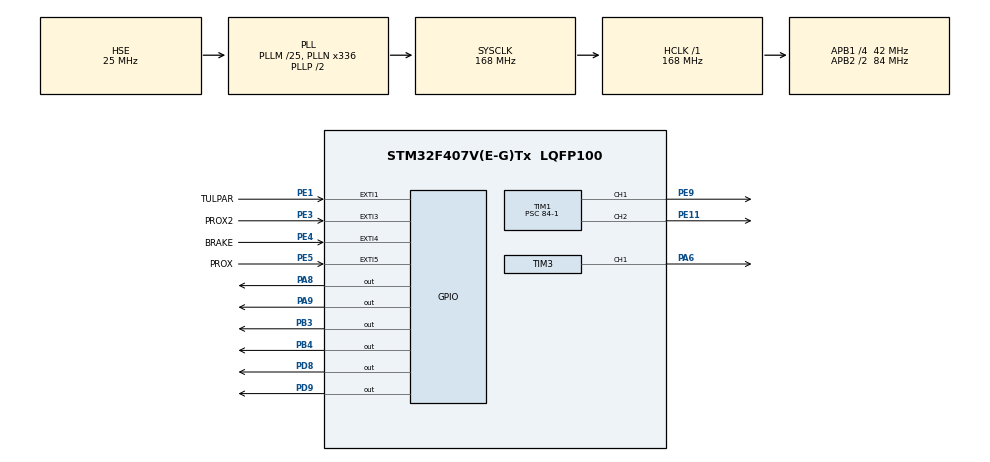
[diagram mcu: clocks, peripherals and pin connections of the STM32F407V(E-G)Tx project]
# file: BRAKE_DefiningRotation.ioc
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Mcu.Family=STM32F4
Mcu.Name=STM32F407V(E-G)Tx
Mcu.Package=LQFP100
NVIC.EXTI1_IRQn=true\:0\:0\:false\:false\:true\:true\:true\:true
NVIC.EXTI3_IRQn=true\:0\:0\:false\:false\:true\:true\:true\:true
NVIC.EXTI4_IRQn=true\:0\:0\:false\:false\:true\:true\:true\:true
NVIC.EXTI9_5_IRQn=true\:0\:0\:false\:false\:true\:true\:true\:true
NVIC.PriorityGroup=NVIC_PRIORITYGROUP_4
NVIC.RCC_IRQn=true\:0\:0\:false\:false\:true\:true\:false\:true
PA13.Mode=Serial_Wire
PA13.Signal=SYS_JTMS-SWDIO
PA14.Mode=Serial_Wire
PA14.Signal=SYS_JTCK-SWCLK
PA6.Signal=S_TIM3_CH1
PA8.Signal=GPIO_Output
PA9.Signal=GPIO_Output
PB3.Signal=GPIO_Output
PB4.Signal=GPIO_Output
PC14-OSC32_IN.Mode=LSE-External-Oscillator
PC14-OSC32_IN.Signal=RCC_OSC32_IN
PC15-OSC32_OUT.Mode=LSE-External-Oscillator
PC15-OSC32_OUT.Signal=RCC_OSC32_OUT
PD8.Signal=GPIO_Output
PD9.Signal=GPIO_Output
PE1.GPIO_Label=TULPAR
PE1.GPIO_ModeDefaultEXTI=GPIO_MODE_IT_RISING_FALLING
PE1.GPIO_PuPd=GPIO_PULLUP
PE1.Signal=GPXTI1
PE11.Signal=S_TIM1_CH2
PE3.GPIO_Label=PROX2
PE3.GPIO_ModeDefaultEXTI=GPIO_MODE_IT_RISING_FALLING
PE3.Signal=GPXTI3
PE4.GPIO_Label=BRAKE
PE4.GPIO_ModeDefaultEXTI=GPIO_MODE_IT_RISING_FALLING
PE4.GPIO_PuPd=GPIO_PULLUP
PE4.Signal=GPXTI4
PE5.GPIO_Label=PROX
PE5.GPIO_ModeDefaultEXTI=GPIO_MODE_IT_RISING_FALLING
PE5.Signal=GPXTI5
PE9.Signal=S_TIM1_CH1
PH0-OSC_IN.Mode=HSE-External-Oscillator
PH0-OSC_IN.Signal=RCC_OSC_IN
PH1-OSC_OUT.Mode=HSE-External-Oscillator
PH1-OSC_OUT.Signal=RCC_OSC_OUT
ProjectManager.HeapSize=0x200
ProjectManager.StackSize=0x400
ProjectManager.TargetToolchain=STM32CubeIDE
RCC.48MHZClocksFreq_Value=84000000
RCC.AHBFreq_Value=168000000
RCC.APB1CLKDivider=RCC_HCLK_DIV4
RCC.APB1Freq_Value=42000000
RCC.APB1TimFreq_Value=84000000
RCC.APB2CLKDivider=RCC_HCLK_DIV2
RCC.APB2Freq_Value=84000000
RCC.APB2TimFreq_Value=168000000
RCC.CortexFreq_Value=168000000
RCC.HCLKFreq_Value=168000000
RCC.HSE_VALUE=25000000
RCC.HSI_VALUE=16000000
RCC.PLLM=25
RCC.PLLN=336
RCC.PLLSourceVirtual=RCC_PLLSOURCE_HSE
RCC.SYSCLKFreq_VALUE=168000000
RCC.SYSCLKSource=RCC_SYSCLKSOURCE_PLLCLK
RCC.VCOOutputFreq_Value=336000000
SH.S_TIM1_CH1.0=TIM1_CH1,PWM Generation1 CH1
SH.S_TIM1_CH2.0=TIM1_CH2,PWM Generation2 CH2
SH.S_TIM3_CH1.0=TIM3_CH1,PWM Generation1 CH1
TIM1.Channel-PWM\ Generation1\ CH1=TIM_CHANNEL_1
TIM1.Channel-PWM\ Generation2\ CH2=TIM_CHANNEL_2
TIM1.Period=85-1
TIM1.Prescaler=84-1
TIM3.Channel-PWM\ Generation1\ CH1=TIM_CHANNEL_1
TIM3.Period=125-1
TIM3.Prescaler=84-1
VP_TIM1_VS_ClockSourceINT.Mode=Internal
VP_TIM2_VS_ClockSourceINT.Mode=Internal
VP_TIM3_VS_ClockSourceINT.Mode=Internal
VP_TIM4_VS_ClockSourceINT.Mode=Internal
VP_TIM5_VS_ClockSourceINT.Mode=Internal
board=custom

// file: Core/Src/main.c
/* USER CODE BEGIN Header */
/**
  ******************************************************************************
  * @file           : main.c
  * @brief          : Main program body
  ******************************************************************************
  * @attention
  *
  * Copyright (c) 2024 STMicroelectronics.
  * All rights reserved.
  *
  * This software is licensed under terms that can be found in the LICENSE file
  * in the root directory of this software component.
  * If no LICENSE file comes with this software, it is provided AS-IS.
  *
  ******************************************************************************
  */
/* USER CODE END Header */
#include "main.h"

TIM_HandleTypeDef htim1;
TIM_HandleTypeDef htim2;
TIM_HandleTypeDef htim3;
TIM_HandleTypeDef htim4;
TIM_HandleTypeDef htim5;

void SystemClock_Config(void);
static void MX_GPIO_Init(void);
static void MX_TIM1_Init(void);
static void MX_TIM3_Init(void);
static void MX_TIM2_Init(void);
static void MX_TIM5_Init(void);
static void MX_TIM4_Init(void);

/* USER CODE BEGIN 0 */
extern volatile uint32_t starttime;
extern volatile uint32_t endtime;
extern volatile uint32_t pulsewidth;
extern volatile uint32_t count;
extern volatile uint32_t command;
extern volatile uint16_t falling_detected;
uint32_t counter = 0;
extern volatile uint32_t signal;
extern volatile uint32_t falling_detected2;

extern volatile uint32_t starttime1;
extern volatile uint32_t endtime1;
extern volatile uint32_t pulsewidth1;
extern volatile uint32_t count1;
extern volatile int32_t dutycycle0;
extern int counter1;
extern volatile int32_t dutycycle1;
extern volatile int32_t dutycycle2;
uint32_t signal_prev=0;
volatile uint32_t  dutycyclenew1=0;
volatile uint32_t  dutycyclenew2=0;
volatile uint32_t  dutycycleprev1=0;
volatile uint32_t  dutycycleprev2=0;
volatile int AA=0;

void motor_fonksiyonu(){
	AA=__HAL_TIM_GET_COMPARE(&htim3,TIM_CHANNEL_1);
	if(dutycycle0 <=2019)
		{
			//if(dutycycle0>-103){
				  HAL_GPIO_WritePin(GPIOD, GPIO_PIN_9, SET); //REWERSE
				  HAL_GPIO_WritePin(GPIOD, GPIO_PIN_8, RESET);

//				  if(dutycycle1<20)
//				  {
//					  dutycyclenew1=0;
//				  }
//				  else
//				  {
//					  dutycyclenew1=dutycycle1-25;
//				  }

				  __HAL_TIM_SET_COMPARE(&htim3 ,TIM_CHANNEL_1,dutycyclenew1);
				  counter++;
				}

	if(dutycycle0>2019)
			  {
	//			  if(dutycycle0)
	//			  {
					  HAL_GPIO_WritePin(GPIOD, GPIO_PIN_9, RESET); //FORWARD
					  HAL_GPIO_WritePin(GPIOD, GPIO_PIN_8, SET);
//					  dutycycle2=((dutycycle0-2019)/5);
//					  if(dutycycle2<20)
//					  {
//						  dutycyclenew2=0;
//					  }
//					  else
//					  {
//						  dutycyclenew2=dutycycle2-25;
//					  }

					  __HAL_TIM_SET_COMPARE(&htim3,TIM_CHANNEL_1,dutycyclenew2);
					  counter--;
				  }

		}

/* USER CODE END 0 */

int main(void)
{

  /* MCU Configuration--------------------------------------------------------*/

  /* Reset of all peripherals, Initializes the Flash interface and the Systick. */
  HAL_Init();

  /* Configure the system clock */
  SystemClock_Config();

  /* Initialize all configured peripherals */
  MX_GPIO_Init();
  MX_TIM1_Init();
  MX_TIM3_Init();
  MX_TIM2_Init();
  MX_TIM5_Init();
  MX_TIM4_Init();
  /* USER CODE BEGIN 2 */
  HAL_TIM_Base_Start_IT(&htim2);
  HAL_TIM_Base_Start(&htim5);
HAL_TIM_PWM_Start(&htim1, TIM_CHANNEL_1);
HAL_TIM_PWM_Start(&htim1, TIM_CHANNEL_2);
HAL_TIM_PWM_Start(&htim3, TIM_CHANNEL_1);

  /* USER CODE END 2 */

  /* Infinite loop */
  while (1)
  {

    /* USER CODE BEGIN 3 */

		motor_fonksiyonu();
		AA=__HAL_TIM_GET_COMPARE(&htim3,TIM_CHANNEL_1);

		if(signal == 1){
			__HAL_TIM_SET_COMPARE(&htim1, TIM_CHANNEL_1, 0);
			__HAL_TIM_SET_COMPARE(&htim1, TIM_CHANNEL_2, 30);
			motor_fonksiyonu();//it activates the BLDC motor
			AA=__HAL_TIM_GET_COMPARE(&htim3,TIM_CHANNEL_1);
				if(falling_detected==1){//if proximity reads an metal object

					while(1){

						__HAL_TIM_SET_COMPARE(&htim1, TIM_CHANNEL_1, 0);
						__HAL_TIM_SET_COMPARE(&htim1, TIM_CHANNEL_2, 0);
						dutycycleprev1= dutycyclenew1;
						dutycycleprev2=dutycyclenew2;
						AA=__HAL_TIM_GET_COMPARE(&htim3,TIM_CHANNEL_1);
							if(dutycycleprev1!=dutycyclenew1 || dutycycleprev2!=dutycyclenew2)
							{
								motor_fonksiyonu();
								AA=__HAL_TIM_GET_COMPARE(&htim3,TIM_CHANNEL_1);

							}

							if(signal != 1){
								break;
							}
						}
					}
						if(falling_detected==0)
						{
							motor_fonksiyonu();
							AA=__HAL_TIM_GET_COMPARE(&htim3,TIM_CHANNEL_1);
						}
		}

		if(signal == 0){
			__HAL_TIM_SET_COMPARE(&htim1, TIM_CHANNEL_1, 100); //holding the  motor
			__HAL_TIM_SET_COMPARE(&htim1, TIM_CHANNEL_2, 0);
			motor_fonksiyonu();

				if(falling_detected2==1){
					while(1){
						__HAL_TIM_SET_COMPARE(&htim1, TIM_CHANNEL_1, 0);
						__HAL_TIM_SET_COMPARE(&htim1, TIM_CHANNEL_2, 0);
						dutycycleprev1= dutycyclenew1;
						dutycycleprev2=dutycyclenew2;

							if(dutycycleprev1!=dutycyclenew1 || dutycycleprev2!=dutycyclenew2)
							{
								motor_fonksiyonu();
							}

							if(signal != 0){
								break;
							}
						}
				}

				if(falling_detected2==0)
				{
					motor_fonksiyonu();

				}
		}

  }

  /* USER CODE END 3 */
}

void SystemClock_Config(void)
{
  RCC_OscInitTypeDef RCC_OscInitStruct = {0};
  RCC_ClkInitTypeDef RCC_ClkInitStruct = {0};

  /** Configure the main internal regulator output voltage
  */
  __HAL_RCC_PWR_CLK_ENABLE();
  __HAL_PWR_VOLTAGESCALING_CONFIG(PWR_REGULATOR_VOLTAGE_SCALE1);

  /** Initializes the RCC Oscillators according to the specified parameters
  * in the RCC_OscInitTypeDef structure.
  */
  RCC_OscInitStruct.OscillatorType = RCC_OSCILLATORTYPE_HSE;
  RCC_OscInitStruct.HSEState = RCC_HSE_ON;
  RCC_OscInitStruct.PLL.PLLState = RCC_PLL_ON;
  RCC_OscInitStruct.PLL.PLLSource = RCC_PLLSOURCE_HSE;
  RCC_OscInitStruct.PLL.PLLM = 25;
  RCC_OscInitStruct.PLL.PLLN = 336;
  RCC_OscInitStruct.PLL.PLLP = RCC_PLLP_DIV2;
  RCC_OscInitStruct.PLL.PLLQ = 4;
  if (HAL_RCC_OscConfig(&RCC_OscInitStruct) != HAL_OK)
  {
    Error_Handler();
  }

  /** Initializes the CPU, AHB and APB buses clocks
  */
  RCC_ClkInitStruct.ClockType = RCC_CLOCKTYPE_HCLK|RCC_CLOCKTYPE_SYSCLK
                              |RCC_CLOCKTYPE_PCLK1|RCC_CLOCKTYPE_PCLK2;
  RCC_ClkInitStruct.SYSCLKSource = RCC_SYSCLKSOURCE_PLLCLK;
  RCC_ClkInitStruct.AHBCLKDivider = RCC_SYSCLK_DIV1;
  RCC_ClkInitStruct.APB1CLKDivider = RCC_HCLK_DIV4;
  RCC_ClkInitStruct.APB2CLKDivider = RCC_HCLK_DIV2;

  if (HAL_RCC_ClockConfig(&RCC_ClkInitStruct, FLASH_LATENCY_5) != HAL_OK)
  {
    Error_Handler();
  }
}

static void MX_TIM1_Init(void)
{

  TIM_ClockConfigTypeDef sClockSourceConfig = {0};
  TIM_MasterConfigTypeDef sMasterConfig = {0};
  TIM_OC_InitTypeDef sConfigOC = {0};
  TIM_BreakDeadTimeConfigTypeDef sBreakDeadTimeConfig = {0};

  htim1.Instance = TIM1;
  htim1.Init.Prescaler = 84-1;
  htim1.Init.CounterMode = TIM_COUNTERMODE_UP;
  htim1.Init.Period = 85-1;
  htim1.Init.ClockDivision = TIM_CLOCKDIVISION_DIV1;
  htim1.Init.RepetitionCounter = 0;
  htim1.Init.AutoReloadPreload = TIM_AUTORELOAD_PRELOAD_DISABLE;
  if (HAL_TIM_Base_Init(&htim1) != HAL_OK)
  {
    Error_Handler();
  }
  sClockSourceConfig.ClockSource = TIM_CLOCKSOURCE_INTERNAL;
  if (HAL_TIM_ConfigClockSource(&htim1, &sClockSourceConfig) != HAL_OK)
  {
    Error_Handler();
  }
  if (HAL_TIM_PWM_Init(&htim1) != HAL_OK)
  {
    Error_Handler();
  }
  sMasterConfig.MasterOutputTrigger = TIM_TRGO_RESET;
  sMasterConfig.MasterSlaveMode = TIM_MASTERSLAVEMODE_DISABLE;
  if (HAL_TIMEx_MasterConfigSynchronization(&htim1, &sMasterConfig) != HAL_OK)
  {
    Error_Handler();
  }
  sConfigOC.OCMode = TIM_OCMODE_PWM1;
  sConfigOC.Pulse = 0;
  sConfigOC.OCPolarity = TIM_OCPOLARITY_HIGH;
  sConfigOC.OCNPolarity = TIM_OCNPOLARITY_HIGH;
  sConfigOC.OCFastMode = TIM_OCFAST_DISABLE;
  sConfigOC.OCIdleState = TIM_OCIDLESTATE_RESET;
  sConfigOC.OCNIdleState = TIM_OCNIDLESTATE_RESET;
  if (HAL_TIM_PWM_ConfigChannel(&htim1, &sConfigOC, TIM_CHANNEL_1) != HAL_OK)
  {
    Error_Handler();
  }
  if (HAL_TIM_PWM_ConfigChannel(&htim1, &sConfigOC, TIM_CHANNEL_2) != HAL_OK)
  {
    Error_Handler();
  }
  sBreakDeadTimeConfig.OffStateRunMode = TIM_OSSR_DISABLE;
  sBreakDeadTimeConfig.OffStateIDLEMode = TIM_OSSI_DISABLE;
  sBreakDeadTimeConfig.LockLevel = TIM_LOCKLEVEL_OFF;
  sBreakDeadTimeConfig.DeadTime = 0;
  sBreakDeadTimeConfig.BreakState = TIM_BREAK_DISABLE;
  sBreakDeadTimeConfig.BreakPolarity = TIM_BREAKPOLARITY_HIGH;
  sBreakDeadTimeConfig.AutomaticOutput = TIM_AUTOMATICOUTPUT_DISABLE;
  if (HAL_TIMEx_ConfigBreakDeadTime(&htim1, &sBreakDeadTimeConfig) != HAL_OK)
  {
    Error_Handler();
  }
  HAL_TIM_MspPostInit(&htim1);

}

static void MX_TIM2_Init(void)
{

  TIM_ClockConfigTypeDef sClockSourceConfig = {0};
  TIM_MasterConfigTypeDef sMasterConfig = {0};

  htim2.Instance = TIM2;
  htim2.Init.Prescaler = 0;
  htim2.Init.CounterMode = TIM_COUNTERMODE_UP;
  htim2.Init.Period = 4294967295;
  htim2.Init.ClockDivision = TIM_CLOCKDIVISION_DIV1;
  htim2.Init.AutoReloadPreload = TIM_AUTORELOAD_PRELOAD_DISABLE;
  if (HAL_TIM_Base_Init(&htim2) != HAL_OK)
  {
    Error_Handler();
  }
  sClockSourceConfig.ClockSource = TIM_CLOCKSOURCE_INTERNAL;
  if (HAL_TIM_ConfigClockSource(&htim2, &sClockSourceConfig) != HAL_OK)
  {
    Error_Handler();
  }
  sMasterConfig.MasterOutputTrigger = TIM_TRGO_RESET;
  sMasterConfig.MasterSlaveMode = TIM_MASTERSLAVEMODE_DISABLE;
  if (HAL_TIMEx_MasterConfigSynchronization(&htim2, &sMasterConfig) != HAL_OK)
  {
    Error_Handler();
  }

}

static void MX_TIM3_Init(void)
{

  TIM_ClockConfigTypeDef sClockSourceConfig = {0};
  TIM_MasterConfigTypeDef sMasterConfig = {0};
  TIM_OC_InitTypeDef sConfigOC = {0};

  htim3.Instance = TIM3;
  htim3.Init.Prescaler = 84-1;
  htim3.Init.CounterMode = TIM_COUNTERMODE_UP;
  htim3.Init.Period = 125-1;
  htim3.Init.ClockDivision = TIM_CLOCKDIVISION_DIV1;
  htim3.Init.AutoReloadPreload = TIM_AUTORELOAD_PRELOAD_DISABLE;
  if (HAL_TIM_Base_Init(&htim3) != HAL_OK)
  {
    Error_Handler();
  }
  sClockSourceConfig.ClockSource = TIM_CLOCKSOURCE_INTERNAL;
  if (HAL_TIM_ConfigClockSource(&htim3, &sClockSourceConfig) != HAL_OK)
  {
    Error_Handler();
  }
  if (HAL_TIM_PWM_Init(&htim3) != HAL_OK)
  {
    Error_Handler();
  }
  sMasterConfig.MasterOutputTrigger = TIM_TRGO_RESET;
  sMasterConfig.MasterSlaveMode = TIM_MASTERSLAVEMODE_DISABLE;
  if (HAL_TIMEx_MasterConfigSynchronization(&htim3, &sMasterConfig) != HAL_OK)
  {
    Error_Handler();
  }
  sConfigOC.OCMode = TIM_OCMODE_PWM1;
  sConfigOC.Pulse = 0;
  sConfigOC.OCPolarity = TIM_OCPOLARITY_HIGH;
  sConfigOC.OCFastMode = TIM_OCFAST_DISABLE;
  if (HAL_TIM_PWM_ConfigChannel(&htim3, &sConfigOC, TIM_CHANNEL_1) != HAL_OK)
  {
    Error_Handler();
  }
  HAL_TIM_MspPostInit(&htim3);

}

static void MX_TIM4_Init(void)
{

  TIM_ClockConfigTypeDef sClockSourceConfig = {0};
  TIM_MasterConfigTypeDef sMasterConfig = {0};

  htim4.Instance = TIM4;
  htim4.Init.Prescaler = 0;
  htim4.Init.CounterMode = TIM_COUNTERMODE_UP;
  htim4.Init.Period = 65535;
  htim4.Init.ClockDivision = TIM_CLOCKDIVISION_DIV1;
  htim4.Init.AutoReloadPreload = TIM_AUTORELOAD_PRELOAD_DISABLE;
  if (HAL_TIM_Base_Init(&htim4) != HAL_OK)
  {
    Error_Handler();
  }
  sClockSourceConfig.ClockSource = TIM_CLOCKSOURCE_INTERNAL;
  if (HAL_TIM_ConfigClockSource(&htim4, &sClockSourceConfig) != HAL_OK)
  {
    Error_Handler();
  }
  sMasterConfig.MasterOutputTrigger = TIM_TRGO_RESET;
  sMasterConfig.MasterSlaveMode = TIM_MASTERSLAVEMODE_DISABLE;
  if (HAL_TIMEx_MasterConfigSynchronization(&htim4, &sMasterConfig) != HAL_OK)
  {
    Error_Handler();
  }

}

static void MX_TIM5_Init(void)
{

  TIM_ClockConfigTypeDef sClockSourceConfig = {0};
  TIM_MasterConfigTypeDef sMasterConfig = {0};

  htim5.Instance = TIM5;
  htim5.Init.Prescaler = 0;
  htim5.Init.CounterMode = TIM_COUNTERMODE_UP;
  htim5.Init.Period = 4294967295;
  htim5.Init.ClockDivision = TIM_CLOCKDIVISION_DIV1;
  htim5.Init.AutoReloadPreload = TIM_AUTORELOAD_PRELOAD_DISABLE;
  if (HAL_TIM_Base_Init(&htim5) != HAL_OK)
  {
    Error_Handler();
  }
  sClockSourceConfig.ClockSource = TIM_CLOCKSOURCE_INTERNAL;
  if (HAL_TIM_ConfigClockSource(&htim5, &sClockSourceConfig) != HAL_OK)
  {
    Error_Handler();
  }
  sMasterConfig.MasterOutputTrigger = TIM_TRGO_RESET;
  sMasterConfig.MasterSlaveMode = TIM_MASTERSLAVEMODE_DISABLE;
  if (HAL_TIMEx_MasterConfigSynchronization(&htim5, &sMasterConfig) != HAL_OK)
  {
    Error_Handler();
  }

}

static void MX_GPIO_Init(void)
{
  GPIO_InitTypeDef GPIO_InitStruct = {0};

  /* GPIO Ports Clock Enable */
  __HAL_RCC_GPIOE_CLK_ENABLE();
  __HAL_RCC_GPIOC_CLK_ENABLE();
  __HAL_RCC_GPIOH_CLK_ENABLE();
  __HAL_RCC_GPIOA_CLK_ENABLE();
  __HAL_RCC_GPIOD_CLK_ENABLE();
  __HAL_RCC_GPIOB_CLK_ENABLE();

  /*Configure GPIO pin Output Level */
  HAL_GPIO_WritePin(GPIOD, GPIO_PIN_8|GPIO_PIN_9, GPIO_PIN_RESET);

  /*Configure GPIO pin Output Level */
  HAL_GPIO_WritePin(GPIOA, GPIO_PIN_8|GPIO_PIN_9, GPIO_PIN_RESET);

  /*Configure GPIO pin Output Level */
  HAL_GPIO_WritePin(GPIOB, GPIO_PIN_3|GPIO_PIN_4, GPIO_PIN_RESET);

  /*Configure GPIO pins : PROX2_Pin PROX_Pin */
  GPIO_InitStruct.Pin = PROX2_Pin|PROX_Pin;
  GPIO_InitStruct.Mode = GPIO_MODE_IT_RISING_FALLING;
  GPIO_InitStruct.Pull = GPIO_NOPULL;
  HAL_GPIO_Init(GPIOE, &GPIO_InitStruct);

  /*Configure GPIO pins : BRAKE_Pin TULPAR_Pin */
  GPIO_InitStruct.Pin = BRAKE_Pin|TULPAR_Pin;
  GPIO_InitStruct.Mode = GPIO_MODE_IT_RISING_FALLING;
  GPIO_InitStruct.Pull = GPIO_PULLUP;
  HAL_GPIO_Init(GPIOE, &GPIO_InitStruct);

  /*Configure GPIO pins : PD8 PD9 */
  GPIO_InitStruct.Pin = GPIO_PIN_8|GPIO_PIN_9;
  GPIO_InitStruct.Mode = GPIO_MODE_OUTPUT_PP;
  GPIO_InitStruct.Pull = GPIO_NOPULL;
  GPIO_InitStruct.Speed = GPIO_SPEED_FREQ_LOW;
  HAL_GPIO_Init(GPIOD, &GPIO_InitStruct);

  /*Configure GPIO pins : PA8 PA9 */
  GPIO_InitStruct.Pin = GPIO_PIN_8|GPIO_PIN_9;
  GPIO_InitStruct.Mode = GPIO_MODE_OUTPUT_PP;
  GPIO_InitStruct.Pull = GPIO_NOPULL;
  GPIO_InitStruct.Speed = GPIO_SPEED_FREQ_LOW;
  HAL_GPIO_Init(GPIOA, &GPIO_InitStruct);

  /*Configure GPIO pins : PB3 PB4 */
  GPIO_InitStruct.Pin = GPIO_PIN_3|GPIO_PIN_4;
  GPIO_InitStruct.Mode = GPIO_MODE_OUTPUT_PP;
  GPIO_InitStruct.Pull = GPIO_NOPULL;
  GPIO_InitStruct.Speed = GPIO_SPEED_FREQ_LOW;
  HAL_GPIO_Init(GPIOB, &GPIO_InitStruct);

  /* EXTI interrupt init*/
  HAL_NVIC_SetPriority(EXTI1_IRQn, 0, 0);
  HAL_NVIC_EnableIRQ(EXTI1_IRQn);

  HAL_NVIC_SetPriority(EXTI3_IRQn, 0, 0);
  HAL_NVIC_EnableIRQ(EXTI3_IRQn);

  HAL_NVIC_SetPriority(EXTI4_IRQn, 0, 0);
  HAL_NVIC_EnableIRQ(EXTI4_IRQn);

  HAL_NVIC_SetPriority(EXTI9_5_IRQn, 0, 0);
  HAL_NVIC_EnableIRQ(EXTI9_5_IRQn);

}

void Error_Handler(void)
{
  __disable_irq();
  while (1)
  {
  }
}
